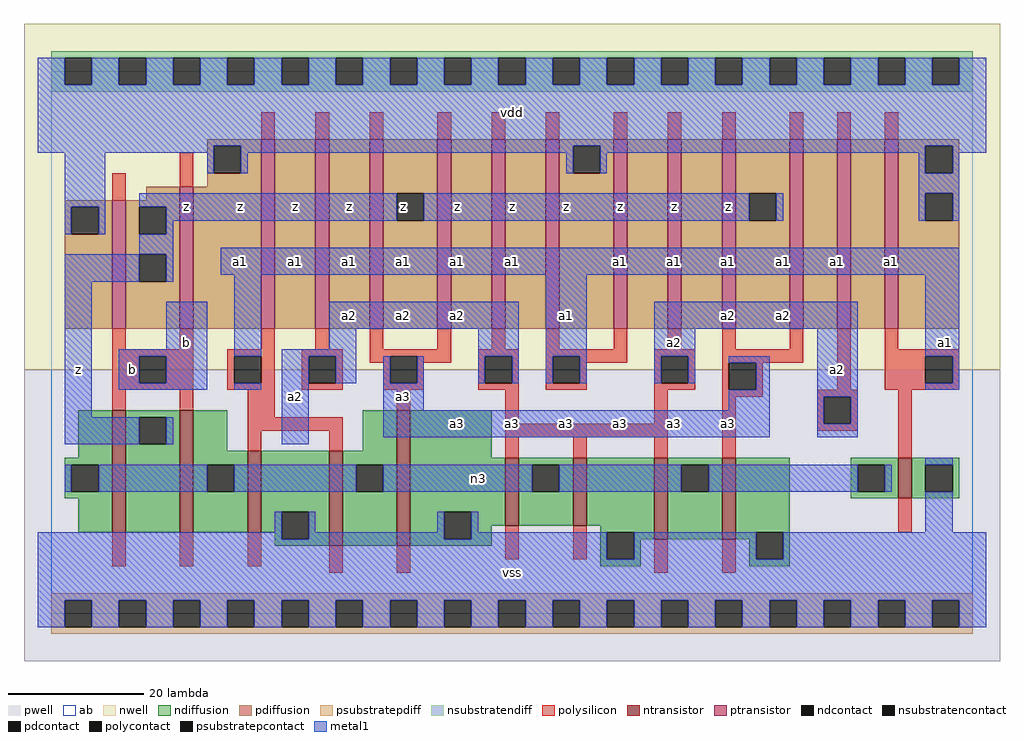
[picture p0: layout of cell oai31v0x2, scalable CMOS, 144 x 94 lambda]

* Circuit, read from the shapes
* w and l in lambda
.subckt oai31v0x2 a1 a2 a3 b n3 vdd vss z
M1 z b n3 vss nfet w=18 l=2 m=2
M2 vss a1 n3 vss nfet w=12 l=2
M3 n3 a1 vss vss nfet w=14 l=2
M4 vss a3 n3 vss nfet w=20 l=2
M5 n3 a2 vss vss nfet w=10 l=2 m=2
M6 n3 a2 vss vss nfet w=12 l=2
M7 vss a3 n3 vss nfet w=12 l=2
M8 vss a1 n3 vss nfet w=6 l=2
M9 z b vdd vdd pfet w=19 l=2
M10 vdd b z vdd pfet w=21 l=2
M11 n1 a1 vdd vdd pfet w=28 l=2
M12 n2 a2 n1 vdd pfet w=28 l=2
M13 z a3 n2 vdd pfet w=28 l=2
M14 n4 a3 z vdd pfet w=28 l=2
M15 n5 a2 n4 vdd pfet w=28 l=2
M16 vdd a1 n5 vdd pfet w=28 l=2
M17 n6 a1 vdd vdd pfet w=28 l=2
M18 n7 a2 n6 vdd pfet w=28 l=2
M19 z a3 n7 vdd pfet w=28 l=2
M20 n8 a3 z vdd pfet w=28 l=2
M21 n9 a2 n8 vdd pfet w=28 l=2
M22 vdd a1 n9 vdd pfet w=28 l=2
.ends

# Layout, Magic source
magic
tech scmos
<< ab >>
rect 0 0 136 80
<< pwell >>
rect -4 -7 140 36
<< nwell >>
rect -4 36 140 87
<< polysilicon >>
rect 31 70 33 74
rect 39 70 41 74
rect 47 70 49 74
rect 57 70 59 74
rect 65 70 67 74
rect 73 70 75 74
rect 83 70 85 74
rect 91 70 93 74
rect 99 70 101 74
rect 109 70 111 74
rect 116 70 118 74
rect 123 70 125 74
rect 9 61 11 65
rect 19 63 21 68
rect 9 39 11 42
rect 19 39 21 42
rect 31 39 33 42
rect 39 39 41 42
rect 47 39 49 42
rect 57 39 59 42
rect 65 39 67 42
rect 73 39 75 42
rect 83 39 85 42
rect 91 39 93 42
rect 99 39 101 42
rect 109 39 111 42
rect 9 38 21 39
rect 9 34 13 38
rect 17 34 21 38
rect 9 33 21 34
rect 26 38 33 39
rect 26 34 27 38
rect 31 34 33 38
rect 26 33 33 34
rect 37 38 43 39
rect 37 34 38 38
rect 42 34 43 38
rect 47 38 59 39
rect 47 37 50 38
rect 37 33 43 34
rect 49 34 50 37
rect 54 37 59 38
rect 63 38 69 39
rect 54 34 55 37
rect 49 33 55 34
rect 63 34 64 38
rect 68 34 69 38
rect 63 33 69 34
rect 73 38 85 39
rect 73 34 74 38
rect 78 37 85 38
rect 89 38 95 39
rect 78 34 79 37
rect 73 33 79 34
rect 89 34 90 38
rect 94 34 95 38
rect 89 33 95 34
rect 99 37 111 39
rect 99 33 100 37
rect 104 33 105 37
rect 116 33 118 42
rect 123 39 125 42
rect 123 38 134 39
rect 123 34 129 38
rect 133 34 134 38
rect 123 33 134 34
rect 9 30 11 33
rect 19 30 21 33
rect 29 29 33 33
rect 51 30 53 33
rect 29 27 43 29
rect 29 24 31 27
rect 41 24 43 27
rect 9 7 11 12
rect 19 7 21 12
rect 29 7 31 12
rect 67 28 69 33
rect 89 28 91 33
rect 67 26 91 28
rect 67 23 69 26
rect 77 23 79 26
rect 89 23 91 26
rect 99 32 105 33
rect 113 32 119 33
rect 99 23 101 32
rect 113 28 114 32
rect 118 28 119 32
rect 113 27 119 28
rect 125 23 127 33
rect 41 6 43 10
rect 51 6 53 10
rect 67 8 69 13
rect 77 8 79 13
rect 125 12 127 17
rect 89 6 91 11
rect 99 6 101 11
<< ndiffusion >>
rect 4 23 9 30
rect 2 22 9 23
rect 2 18 3 22
rect 7 18 9 22
rect 2 17 9 18
rect 4 12 9 17
rect 11 29 19 30
rect 11 25 13 29
rect 17 25 19 29
rect 11 12 19 25
rect 21 24 26 30
rect 46 24 51 30
rect 21 22 29 24
rect 21 18 23 22
rect 27 18 29 22
rect 21 12 29 18
rect 31 15 41 24
rect 31 12 34 15
rect 33 11 34 12
rect 38 11 41 15
rect 33 10 41 11
rect 43 22 51 24
rect 43 18 45 22
rect 49 18 51 22
rect 43 10 51 18
rect 53 23 65 30
rect 53 15 67 23
rect 53 11 58 15
rect 62 13 67 15
rect 69 22 77 23
rect 69 18 71 22
rect 75 18 77 22
rect 69 13 77 18
rect 79 13 89 23
rect 62 11 65 13
rect 53 10 65 11
rect 81 12 89 13
rect 81 8 82 12
rect 86 11 89 12
rect 91 22 99 23
rect 91 18 93 22
rect 97 18 99 22
rect 91 11 99 18
rect 101 12 109 23
rect 118 22 125 23
rect 118 18 119 22
rect 123 18 125 22
rect 118 17 125 18
rect 127 22 134 23
rect 127 18 129 22
rect 133 18 134 22
rect 127 17 134 18
rect 101 11 104 12
rect 86 8 87 11
rect 81 7 87 8
rect 103 8 104 11
rect 108 8 109 12
rect 103 7 109 8
<< pdiffusion >>
rect 23 69 31 70
rect 23 65 24 69
rect 28 65 31 69
rect 23 63 31 65
rect 14 61 19 63
rect 2 60 9 61
rect 2 56 3 60
rect 7 56 9 60
rect 2 42 9 56
rect 11 60 19 61
rect 11 56 13 60
rect 17 56 19 60
rect 11 53 19 56
rect 11 49 13 53
rect 17 49 19 53
rect 11 42 19 49
rect 21 42 31 63
rect 33 42 39 70
rect 41 42 47 70
rect 49 62 57 70
rect 49 58 51 62
rect 55 58 57 62
rect 49 42 57 58
rect 59 42 65 70
rect 67 42 73 70
rect 75 69 83 70
rect 75 65 77 69
rect 81 65 83 69
rect 75 42 83 65
rect 85 42 91 70
rect 93 42 99 70
rect 101 62 109 70
rect 101 58 103 62
rect 107 58 109 62
rect 101 42 109 58
rect 111 42 116 70
rect 118 42 123 70
rect 125 69 134 70
rect 125 65 129 69
rect 133 65 134 69
rect 125 62 134 65
rect 125 58 129 62
rect 133 58 134 62
rect 125 42 134 58
<< metal1 >>
rect -2 78 2 82
rect 6 78 10 82
rect 14 78 18 82
rect 22 78 26 82
rect 30 78 34 82
rect 38 78 42 82
rect 46 78 50 82
rect 54 78 58 82
rect 62 78 66 82
rect 70 78 74 82
rect 78 78 82 82
rect 86 78 90 82
rect 94 78 98 82
rect 102 78 106 82
rect 110 78 114 82
rect 118 78 122 82
rect 126 78 130 82
rect 134 78 138 82
rect -2 69 138 78
rect -2 68 24 69
rect 2 60 8 68
rect 23 65 24 68
rect 28 68 77 69
rect 28 65 29 68
rect 76 65 77 68
rect 81 68 129 69
rect 81 65 82 68
rect 128 65 129 68
rect 133 68 138 69
rect 133 65 134 68
rect 128 62 134 65
rect 2 56 3 60
rect 7 56 8 60
rect 13 60 51 62
rect 17 58 51 60
rect 55 58 103 62
rect 107 58 108 62
rect 128 58 129 62
rect 133 58 134 62
rect 17 56 18 58
rect 13 53 18 56
rect 2 49 13 53
rect 17 49 18 53
rect 25 50 134 54
rect 2 29 6 49
rect 17 39 23 46
rect 10 38 23 39
rect 10 34 13 38
rect 17 34 23 38
rect 10 33 23 34
rect 27 38 31 50
rect 41 42 69 46
rect 41 39 45 42
rect 27 33 31 34
rect 34 38 45 39
rect 63 38 69 42
rect 2 25 13 29
rect 17 25 18 29
rect 34 25 38 38
rect 42 34 45 38
rect 49 34 50 38
rect 54 34 55 38
rect 63 34 64 38
rect 68 34 69 38
rect 73 38 79 50
rect 73 34 74 38
rect 78 34 79 38
rect 89 42 119 46
rect 89 38 95 42
rect 89 34 90 38
rect 94 34 95 38
rect 100 37 106 38
rect 49 30 55 34
rect 104 33 106 37
rect 100 30 106 33
rect 49 26 106 30
rect 113 32 119 42
rect 129 38 134 50
rect 133 34 134 38
rect 129 33 134 34
rect 113 28 114 32
rect 118 28 119 32
rect 113 26 119 28
rect 129 22 133 23
rect 2 18 3 22
rect 7 18 23 22
rect 27 18 45 22
rect 49 18 71 22
rect 75 18 93 22
rect 97 18 119 22
rect 123 18 124 22
rect 33 12 34 15
rect -2 11 34 12
rect 38 12 39 15
rect 57 12 58 15
rect 38 11 58 12
rect 62 12 63 15
rect 129 12 133 18
rect 62 11 82 12
rect -2 8 82 11
rect 86 8 104 12
rect 108 8 138 12
rect -2 2 138 8
rect -2 -2 2 2
rect 6 -2 10 2
rect 14 -2 18 2
rect 22 -2 26 2
rect 30 -2 34 2
rect 38 -2 42 2
rect 46 -2 50 2
rect 54 -2 58 2
rect 62 -2 66 2
rect 70 -2 74 2
rect 78 -2 82 2
rect 86 -2 90 2
rect 94 -2 98 2
rect 102 -2 106 2
rect 110 -2 114 2
rect 118 -2 122 2
rect 126 -2 130 2
rect 134 -2 138 2
<< ntransistor >>
rect 9 12 11 30
rect 19 12 21 30
rect 29 12 31 24
rect 41 10 43 24
rect 51 10 53 30
rect 67 13 69 23
rect 77 13 79 23
rect 89 11 91 23
rect 99 11 101 23
rect 125 17 127 23
<< ptransistor >>
rect 9 42 11 61
rect 19 42 21 63
rect 31 42 33 70
rect 39 42 41 70
rect 47 42 49 70
rect 57 42 59 70
rect 65 42 67 70
rect 73 42 75 70
rect 83 42 85 70
rect 91 42 93 70
rect 99 42 101 70
rect 109 42 111 70
rect 116 42 118 70
rect 123 42 125 70
<< polycontact >>
rect 13 34 17 38
rect 27 34 31 38
rect 38 34 42 38
rect 50 34 54 38
rect 64 34 68 38
rect 74 34 78 38
rect 90 34 94 38
rect 100 33 104 37
rect 129 34 133 38
rect 114 28 118 32
<< ndcontact >>
rect 3 18 7 22
rect 13 25 17 29
rect 23 18 27 22
rect 34 11 38 15
rect 45 18 49 22
rect 58 11 62 15
rect 71 18 75 22
rect 82 8 86 12
rect 93 18 97 22
rect 119 18 123 22
rect 129 18 133 22
rect 104 8 108 12
<< pdcontact >>
rect 24 65 28 69
rect 3 56 7 60
rect 13 56 17 60
rect 13 49 17 53
rect 51 58 55 62
rect 77 65 81 69
rect 103 58 107 62
rect 129 65 133 69
rect 129 58 133 62
<< psubstratepcontact >>
rect 2 -2 6 2
rect 10 -2 14 2
rect 18 -2 22 2
rect 26 -2 30 2
rect 34 -2 38 2
rect 42 -2 46 2
rect 50 -2 54 2
rect 58 -2 62 2
rect 66 -2 70 2
rect 74 -2 78 2
rect 82 -2 86 2
rect 90 -2 94 2
rect 98 -2 102 2
rect 106 -2 110 2
rect 114 -2 118 2
rect 122 -2 126 2
rect 130 -2 134 2
<< nsubstratencontact >>
rect 2 78 6 82
rect 10 78 14 82
rect 18 78 22 82
rect 26 78 30 82
rect 34 78 38 82
rect 42 78 46 82
rect 50 78 54 82
rect 58 78 62 82
rect 66 78 70 82
rect 74 78 78 82
rect 82 78 86 82
rect 90 78 94 82
rect 98 78 102 82
rect 106 78 110 82
rect 114 78 118 82
rect 122 78 126 82
rect 130 78 134 82
<< psubstratepdiff >>
rect 0 2 136 3
rect 0 -2 2 2
rect 6 -2 10 2
rect 14 -2 18 2
rect 22 -2 26 2
rect 30 -2 34 2
rect 38 -2 42 2
rect 46 -2 50 2
rect 54 -2 58 2
rect 62 -2 66 2
rect 70 -2 74 2
rect 78 -2 82 2
rect 86 -2 90 2
rect 94 -2 98 2
rect 102 -2 106 2
rect 110 -2 114 2
rect 118 -2 122 2
rect 126 -2 130 2
rect 134 -2 136 2
rect 0 -3 136 -2
<< nsubstratendiff >>
rect 0 82 136 83
rect 0 78 2 82
rect 6 78 10 82
rect 14 78 18 82
rect 22 78 26 82
rect 30 78 34 82
rect 38 78 42 82
rect 46 78 50 82
rect 54 78 58 82
rect 62 78 66 82
rect 70 78 74 82
rect 78 78 82 82
rect 86 78 90 82
rect 94 78 98 82
rect 102 78 106 82
rect 110 78 114 82
rect 118 78 122 82
rect 126 78 130 82
rect 134 78 136 82
rect 0 77 136 78
<< labels >>
rlabel metal1 12 36 12 36 6 b
rlabel metal1 4 36 4 36 6 z
rlabel metal1 36 32 36 32 6 a2
rlabel metal1 20 40 20 40 6 b
rlabel metal1 28 52 28 52 6 a1
rlabel metal1 36 52 36 52 6 a1
rlabel metal1 20 60 20 60 6 z
rlabel metal1 36 60 36 60 6 z
rlabel metal1 28 60 28 60 6 z
rlabel metal1 60 28 60 28 6 a3
rlabel metal1 52 32 52 32 6 a3
rlabel metal1 52 44 52 44 6 a2
rlabel metal1 60 44 60 44 6 a2
rlabel metal1 44 44 44 44 6 a2
rlabel metal1 44 52 44 52 6 a1
rlabel metal1 52 52 52 52 6 a1
rlabel metal1 60 52 60 52 6 a1
rlabel metal1 44 60 44 60 6 z
rlabel metal1 60 60 60 60 6 z
rlabel pdcontact 52 60 52 60 6 z
rlabel metal1 68 6 68 6 6 vss
rlabel metal1 76 28 76 28 6 a3
rlabel metal1 84 28 84 28 6 a3
rlabel metal1 68 28 68 28 6 a3
rlabel metal1 76 44 76 44 6 a1
rlabel metal1 68 52 68 52 6 a1
rlabel metal1 84 52 84 52 6 a1
rlabel metal1 68 60 68 60 6 z
rlabel metal1 84 60 84 60 6 z
rlabel metal1 76 60 76 60 6 z
rlabel metal1 68 74 68 74 6 vdd
rlabel metal1 100 28 100 28 6 a3
rlabel metal1 92 28 92 28 6 a3
rlabel metal1 108 44 108 44 6 a2
rlabel metal1 100 44 100 44 6 a2
rlabel metal1 92 40 92 40 6 a2
rlabel metal1 92 52 92 52 6 a1
rlabel metal1 108 52 108 52 6 a1
rlabel metal1 100 52 100 52 6 a1
rlabel metal1 92 60 92 60 6 z
rlabel metal1 100 60 100 60 6 z
rlabel metal1 63 20 63 20 6 n3
rlabel metal1 116 36 116 36 6 a2
rlabel metal1 132 40 132 40 6 a1
rlabel metal1 116 52 116 52 6 a1
rlabel metal1 124 52 124 52 6 a1
<< end >>
